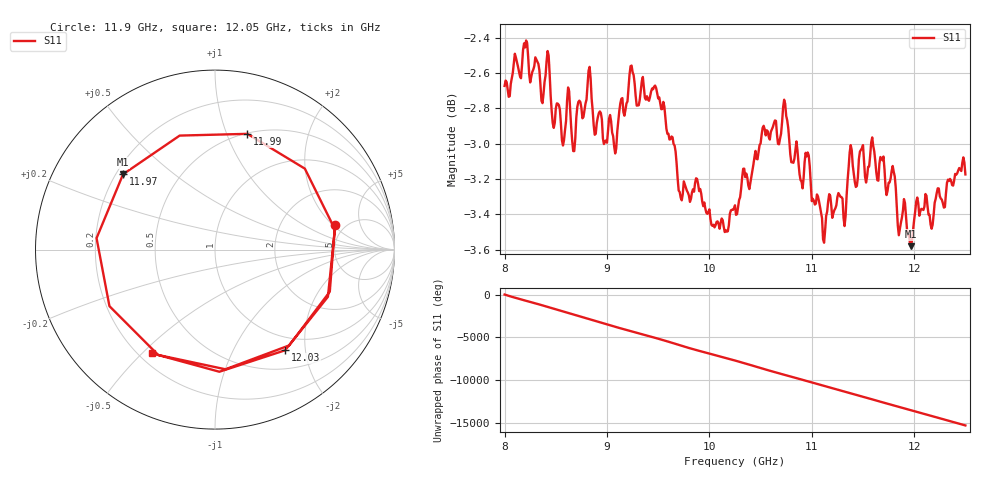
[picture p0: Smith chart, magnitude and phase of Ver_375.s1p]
#  HZ  S  RI  R  50.00
! Rohde & Schwarz Vector Network Analyzer
! Rohde-Schwarz,ZNA43-4Port,1332450044101932,2.92
! Created: UTC 6/9/2026, 6:30:42 AM
! freq[Hz]  re:S11  im:S11
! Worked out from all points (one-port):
!   451 points, 8 GHz to 12.5 GHz, reference 50 ohm
!   lowest |S11| = -3.6 dB at 11.97 GHz (marker M1), VSWR 4.92, Z = 11.4 + j17 ohm
!   |S11| at or under -10 dB: nowhere
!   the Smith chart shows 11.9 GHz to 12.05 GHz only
!   S11 on the Smith chart (normalised r, x): 11.9 GHz: 4.15, +2.14; 11.97 GHz: 0.23, +0.34; 11.99 GHz: 0.51, +1.19; 12.03 GHz: 0.78, -1.63; 12.05 GHz: 0.25, -0.54
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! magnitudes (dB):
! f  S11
! 8 GHz  -2.7
! 8.2 GHz  -2.5
! 8.37 GHz  -2.8
! 8.42 GHz  -2.5
! 8.47 GHz  -2.9
! 8.57 GHz  -3.0
! 8.68 GHz  -3.0
! 8.82 GHz  -2.6
! 8.98 GHz  -3.0
! 9.13 GHz  -2.8
! 9.24 GHz  -2.6
! 9.47 GHz  -2.7
! 9.69 GHz  -3.2
! 10.25 GHz  -3.3
! 10.73 GHz  -2.8
! 10.82 GHz  -3.1
! 10.96 GHz  -3.0
! 11.12 GHz  -3.6
! 11.32 GHz  -3.5
! 11.38 GHz  -3.0
! 11.59 GHz  -3.0
! 11.9 GHz  -3.3
! 11.94 GHz  -3.5
! 11.97 GHz  -3.6
! 11.99 GHz  -3.5
! 12.03 GHz  -3.3
! 12.05 GHz  -3.4
! 12.5 GHz  -3.2
